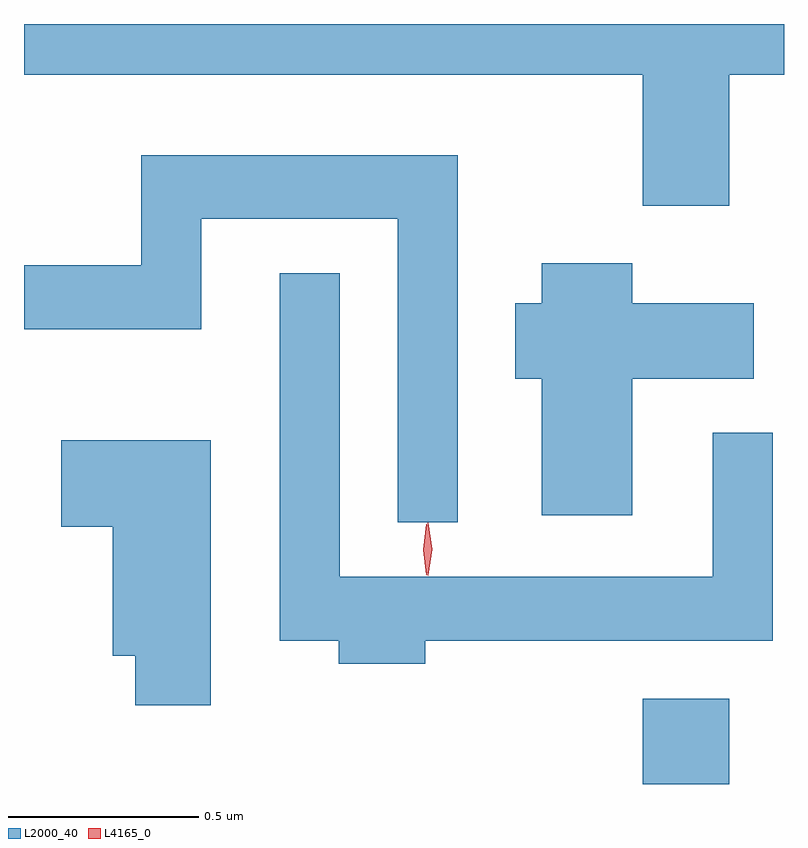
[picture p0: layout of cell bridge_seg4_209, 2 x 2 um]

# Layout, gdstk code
import gdstk
lib = gdstk.Library(unit=1e-6, precision=1e-09)
def R(c, l, rs):  # rectangles x0, y0, x1, y1
    for r in rs: c.add(gdstk.rectangle(r[:2], r[2:], *l))
def P(c, l, *ps):  # polygons
    for p in ps: c.add(gdstk.Polygon(p, *l))
L2000_40 = (2000, 40)
L4165_0 = (4165, 0)

bridge_seg4_209 = lib.new_cell('bridge_seg4_209')
R(bridge_seg4_209, L2000_40, [(1037.661,1312.849,1037.889,1313.074)])
P(bridge_seg4_209, L2000_40, [(1037.889,1314.716),(1038.033,1314.716),(1038.033,1314.849),(1036.033,1314.849),(1036.033,1314.716),(1037.661,1314.716),(1037.661,1314.371),(1037.889,1314.371)],
  [(1037.174,1314.504),(1036.341,1314.504),(1036.341,1314.214),(1036.033,1314.214),(1036.033,1314.046),(1036.499,1314.046),(1036.499,1314.336),(1037.016,1314.336),(1037.016,1313.538),(1037.174,1313.538)],
  [(1037.634,1313.916),(1037.954,1313.916),(1037.954,1314.114),(1037.634,1314.114),(1037.634,1314.219),(1037.396,1314.219),(1037.396,1314.114),(1037.326,1314.114),(1037.326,1313.916),(1037.396,1313.916),(1037.396,1313.556),(1037.634,1313.556)],
  [(1037.089,1313.226),(1038.004,1313.226),(1038.004,1313.773),(1037.846,1313.773),(1037.846,1313.394),(1036.864,1313.394),(1036.864,1314.193),(1036.706,1314.193),(1036.706,1313.226),(1036.861,1313.226),(1036.861,1313.166),(1037.089,1313.166)],
  [(1036.524,1313.754),(1036.131,1313.754),(1036.131,1313.526),(1036.266,1313.526),(1036.266,1313.186),(1036.326,1313.186),(1036.326,1313.056),(1036.524,1313.056)])
P(bridge_seg4_209, L4165_0, [(1037.097,1313.397),(1037.096,1313.398),(1037.087,1313.467),(1037.096,1313.536),(1037.097,1313.536),(1037.097,1313.536),(1037.107,1313.467),(1037.097,1313.398)],
  [(1037.093,1313.399),(1037.092,1313.4),(1037.083,1313.466),(1037.092,1313.532),(1037.093,1313.533),(1037.093,1313.532),(1037.103,1313.466),(1037.093,1313.4)])

lib.write_gds('bridge_seg4_209.gds')
